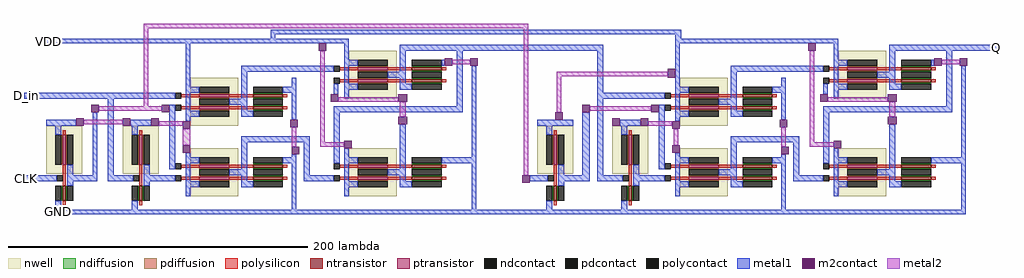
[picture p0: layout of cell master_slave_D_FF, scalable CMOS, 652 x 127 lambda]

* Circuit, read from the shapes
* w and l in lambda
.subckt master_slave_D_FF CLK D_in GND Q VDD
M1 n1 CLK GND VSUBS nfet w=10 l=2
M2 n2 D_in GND VSUBS nfet w=10 l=2
M3 n3 n2 n4 VSUBS nfet w=20 l=2
M4 GND n1 n3 VSUBS nfet w=20 l=2
M5 n5 n1 n6 VSUBS nfet w=20 l=2
M6 GND D_in n5 VSUBS nfet w=20 l=2
M7 n7 n4 n8 VSUBS nfet w=20 l=2
M8 GND n9 n7 VSUBS nfet w=20 l=2
M9 n10 n8 n9 VSUBS nfet w=20 l=2
M10 GND n6 n10 VSUBS nfet w=20 l=2
M11 n11 n1 GND VSUBS nfet w=10 l=2
M12 n12 n9 GND VSUBS nfet w=10 l=2
M13 n13 n12 n14 VSUBS nfet w=20 l=2
M14 GND n11 n13 VSUBS nfet w=20 l=2
M15 n15 n11 n16 VSUBS nfet w=20 l=2
M16 GND n9 n15 VSUBS nfet w=20 l=2
M17 n17 n14 n18 VSUBS nfet w=20 l=2
M18 GND Q n17 VSUBS nfet w=20 l=2
M19 n19 n18 Q VSUBS nfet w=20 l=2
M20 GND n16 n19 VSUBS nfet w=20 l=2
M21 n1 CLK VDD n20 pfet w=20 l=2
M22 n2 D_in VDD n21 pfet w=20 l=2
M23 n4 n2 VDD n22 pfet w=20 l=2
M24 VDD n1 n4 n22 pfet w=20 l=2
M25 n6 n1 VDD n23 pfet w=20 l=2
M26 VDD D_in n6 n23 pfet w=20 l=2
M27 n8 n4 VDD n24 pfet w=20 l=2
M28 VDD n9 n8 n24 pfet w=20 l=2
M29 n9 n8 VDD n25 pfet w=20 l=2
M30 VDD n6 n9 n25 pfet w=20 l=2
M31 n11 n1 VDD n26 pfet w=20 l=2
M32 n12 n9 VDD n27 pfet w=20 l=2
M33 n14 n12 VDD n28 pfet w=20 l=2
M34 VDD n11 n14 n28 pfet w=20 l=2
M35 n16 n11 VDD n29 pfet w=20 l=2
M36 VDD n9 n16 n29 pfet w=20 l=2
M37 n18 n14 VDD n30 pfet w=20 l=2
M38 VDD Q n18 n30 pfet w=20 l=2
M39 Q n18 VDD n31 pfet w=20 l=2
M40 VDD n16 Q n31 pfet w=20 l=2
.ends

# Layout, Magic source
magic
tech scmos
<< nwell >>
rect -28 -14 4 18
rect 78 4 110 36
rect 299 -14 331 18
rect 405 4 437 36
rect -124 -46 -100 -14
rect -73 -46 -49 -14
rect -28 -61 4 -29
rect 78 -61 110 -29
rect 204 -46 228 -14
rect 254 -46 278 -14
rect 299 -61 331 -29
rect 405 -61 437 -29
<< ntransistor >>
rect 120 23 140 25
rect 447 23 467 25
rect 120 15 140 17
rect 447 15 467 17
rect 14 5 34 7
rect 341 5 361 7
rect 14 -3 34 -1
rect 341 -3 361 -1
rect 14 -42 34 -40
rect 120 -42 140 -40
rect 14 -50 34 -48
rect -113 -64 -111 -54
rect -62 -64 -60 -54
rect 120 -50 140 -48
rect 341 -42 361 -40
rect 447 -42 467 -40
rect 341 -50 361 -48
rect 215 -64 217 -54
rect 265 -64 267 -54
rect 447 -50 467 -48
<< ptransistor >>
rect 84 23 104 25
rect 411 23 431 25
rect 84 15 104 17
rect 411 15 431 17
rect -22 5 -2 7
rect 305 5 325 7
rect -22 -3 -2 -1
rect 305 -3 325 -1
rect -113 -40 -111 -20
rect -62 -40 -60 -20
rect -22 -42 -2 -40
rect 215 -40 217 -20
rect 265 -40 267 -20
rect 84 -42 104 -40
rect -22 -50 -2 -48
rect 84 -50 104 -48
rect 305 -42 325 -40
rect 411 -42 431 -40
rect 305 -50 325 -48
rect 411 -50 431 -48
<< ndiffusion >>
rect 120 25 140 26
rect 120 22 140 23
rect 447 25 467 26
rect 120 17 140 18
rect 120 14 140 15
rect 447 22 467 23
rect 447 17 467 18
rect 14 7 34 8
rect 14 4 34 5
rect 447 14 467 15
rect 341 7 361 8
rect 14 -1 34 0
rect 14 -4 34 -3
rect 341 4 361 5
rect 341 -1 361 0
rect 341 -4 361 -3
rect 14 -40 34 -39
rect 14 -43 34 -42
rect 120 -40 140 -39
rect 14 -48 34 -47
rect -114 -64 -113 -54
rect -111 -64 -110 -54
rect -63 -64 -62 -54
rect -60 -64 -59 -54
rect 14 -51 34 -50
rect 120 -43 140 -42
rect 120 -48 140 -47
rect 120 -51 140 -50
rect 341 -40 361 -39
rect 341 -43 361 -42
rect 447 -40 467 -39
rect 341 -48 361 -47
rect 214 -64 215 -54
rect 217 -64 218 -54
rect 264 -64 265 -54
rect 267 -64 268 -54
rect 341 -51 361 -50
rect 447 -43 467 -42
rect 447 -48 467 -47
rect 447 -51 467 -50
<< pdiffusion >>
rect 84 25 104 26
rect 84 22 104 23
rect 84 17 104 18
rect 411 25 431 26
rect 411 22 431 23
rect 84 14 104 15
rect -22 7 -2 8
rect 411 17 431 18
rect 411 14 431 15
rect -22 4 -2 5
rect -22 -1 -2 0
rect 305 7 325 8
rect 305 4 325 5
rect -22 -4 -2 -3
rect 305 -1 325 0
rect 305 -4 325 -3
rect -114 -40 -113 -20
rect -111 -40 -110 -20
rect -63 -40 -62 -20
rect -60 -40 -59 -20
rect -22 -40 -2 -39
rect -22 -43 -2 -42
rect -22 -48 -2 -47
rect 84 -40 104 -39
rect 214 -40 215 -20
rect 217 -40 218 -20
rect 264 -40 265 -20
rect 267 -40 268 -20
rect 84 -43 104 -42
rect -22 -51 -2 -50
rect 84 -48 104 -47
rect 84 -51 104 -50
rect 305 -40 325 -39
rect 305 -43 325 -42
rect 305 -48 325 -47
rect 411 -40 431 -39
rect 411 -43 431 -42
rect 305 -51 325 -50
rect 411 -48 431 -47
rect 411 -51 431 -50
<< ndcontact >>
rect 120 26 140 30
rect 447 26 467 30
rect 120 18 140 22
rect 14 8 34 12
rect 447 18 467 22
rect 120 10 140 14
rect 341 8 361 12
rect 447 10 467 14
rect 14 0 34 4
rect 341 0 361 4
rect 14 -8 34 -4
rect 341 -8 361 -4
rect 14 -39 34 -35
rect 120 -39 140 -35
rect 14 -47 34 -43
rect -118 -64 -114 -54
rect -110 -64 -106 -54
rect -67 -64 -63 -54
rect -59 -64 -55 -54
rect 120 -47 140 -43
rect 14 -55 34 -51
rect 120 -55 140 -51
rect 341 -39 361 -35
rect 447 -39 467 -35
rect 341 -47 361 -43
rect 210 -64 214 -54
rect 218 -64 222 -54
rect 260 -64 264 -54
rect 268 -64 272 -54
rect 447 -47 467 -43
rect 341 -55 361 -51
rect 447 -55 467 -51
<< pdcontact >>
rect 84 26 104 30
rect 411 26 431 30
rect 84 18 104 22
rect 411 18 431 22
rect -22 8 -2 12
rect 84 10 104 14
rect 305 8 325 12
rect -22 0 -2 4
rect 411 10 431 14
rect 305 0 325 4
rect -22 -8 -2 -4
rect 305 -8 325 -4
rect -118 -40 -114 -20
rect -110 -40 -106 -20
rect -67 -40 -63 -20
rect -59 -40 -55 -20
rect -22 -39 -2 -35
rect 84 -39 104 -35
rect -22 -47 -2 -43
rect 210 -40 214 -20
rect 218 -40 222 -20
rect 260 -40 264 -20
rect 268 -40 272 -20
rect 305 -39 325 -35
rect 84 -47 104 -43
rect -22 -55 -2 -51
rect 84 -55 104 -51
rect 411 -39 431 -35
rect 305 -47 325 -43
rect 411 -47 431 -43
rect 305 -55 325 -51
rect 411 -55 431 -51
<< polysilicon >>
rect 72 23 84 25
rect 104 23 120 25
rect 140 23 143 25
rect 399 23 411 25
rect 431 23 447 25
rect 467 23 470 25
rect 72 15 84 17
rect 104 15 120 17
rect 140 15 143 17
rect 399 15 411 17
rect 431 15 447 17
rect 467 15 470 17
rect -34 5 -22 7
rect -2 5 14 7
rect 34 5 37 7
rect 293 5 305 7
rect 325 5 341 7
rect 361 5 364 7
rect -34 -3 -22 -1
rect -2 -3 14 -1
rect 34 -3 37 -1
rect 293 -3 305 -1
rect 325 -3 341 -1
rect 361 -3 364 -1
rect -113 -20 -111 -17
rect -62 -20 -60 -17
rect 215 -20 217 -17
rect 265 -20 267 -17
rect -113 -54 -111 -40
rect -62 -54 -60 -40
rect -34 -42 -22 -40
rect -2 -42 14 -40
rect 34 -42 37 -40
rect 72 -42 84 -40
rect 104 -42 120 -40
rect 140 -42 143 -40
rect -34 -50 -22 -48
rect -2 -50 14 -48
rect 34 -50 37 -48
rect 72 -50 84 -48
rect 104 -50 120 -48
rect 140 -50 143 -48
rect 215 -54 217 -40
rect 265 -54 267 -40
rect 293 -42 305 -40
rect 325 -42 341 -40
rect 361 -42 364 -40
rect 399 -42 411 -40
rect 431 -42 447 -40
rect 467 -42 470 -40
rect 293 -50 305 -48
rect 325 -50 341 -48
rect 361 -50 364 -48
rect 399 -50 411 -48
rect 431 -50 447 -48
rect 467 -50 470 -48
rect -113 -67 -111 -64
rect -62 -67 -60 -64
rect 215 -67 217 -64
rect 265 -67 267 -64
<< polycontact >>
rect 68 22 72 26
rect 68 14 72 18
rect 395 22 399 26
rect -38 4 -34 8
rect 395 14 399 18
rect -38 -4 -34 0
rect 289 4 293 8
rect 289 -4 293 0
rect -117 -51 -113 -47
rect -66 -51 -62 -47
rect -38 -43 -34 -39
rect -38 -51 -34 -47
rect 68 -43 72 -39
rect 68 -51 72 -47
rect 211 -51 215 -47
rect 261 -51 265 -47
rect 289 -43 293 -39
rect 289 -51 293 -47
rect 395 -43 399 -39
rect 395 -51 399 -47
<< metal1 >>
rect 26 47 300 50
rect 26 44 29 47
rect 296 44 300 47
rect -124 41 78 44
rect -31 12 -28 41
rect 75 30 78 41
rect 296 41 405 44
rect 112 36 248 40
rect 75 26 84 30
rect 6 22 68 26
rect -31 8 -22 12
rect -139 4 -38 8
rect -124 -14 -104 -10
rect -118 -20 -114 -14
rect -110 -47 -106 -40
rect -93 -47 -90 -5
rect -139 -51 -117 -47
rect -110 -51 -90 -47
rect -83 -47 -79 4
rect -68 -14 -54 -10
rect -67 -20 -63 -14
rect -59 -47 -55 -40
rect -42 -43 -38 0
rect -31 -4 -28 8
rect 6 4 10 22
rect 40 12 43 18
rect 34 8 43 12
rect -2 0 10 4
rect 6 -4 10 0
rect -31 -8 -22 -4
rect 6 -8 14 -4
rect -31 -11 -28 -8
rect 40 -10 43 8
rect 75 14 78 26
rect 112 22 116 36
rect 140 26 142 30
rect 104 18 116 22
rect 112 14 116 18
rect 68 7 71 14
rect 75 10 84 14
rect 112 10 120 14
rect 75 4 78 10
rect 150 -1 154 36
rect 68 -5 154 -1
rect 6 -25 52 -21
rect -31 -35 -28 -32
rect -31 -39 -22 -35
rect -83 -51 -66 -47
rect -59 -51 -38 -47
rect -31 -51 -28 -39
rect 6 -43 10 -25
rect 40 -35 43 -33
rect 34 -39 43 -35
rect -2 -47 10 -43
rect 6 -51 10 -47
rect -110 -54 -106 -51
rect -59 -54 -55 -51
rect -31 -55 -22 -51
rect 6 -55 14 -51
rect -31 -61 -28 -55
rect -118 -70 -114 -64
rect -67 -70 -63 -64
rect 40 -70 43 -39
rect 48 -47 52 -25
rect 68 -39 72 -5
rect 75 -35 78 -29
rect 75 -39 84 -35
rect 48 -51 68 -47
rect 75 -51 78 -39
rect 112 -43 116 -13
rect 160 -35 163 26
rect 244 8 248 36
rect 296 12 299 41
rect 402 30 405 41
rect 439 36 513 40
rect 402 26 411 30
rect 333 22 395 26
rect 296 8 305 12
rect 244 4 289 8
rect 204 -14 228 -10
rect 140 -39 163 -35
rect 104 -47 116 -43
rect 112 -51 116 -47
rect 75 -55 84 -51
rect 112 -55 120 -51
rect 75 -61 78 -55
rect 160 -70 163 -39
rect 210 -20 214 -14
rect 218 -47 222 -40
rect 234 -47 239 -5
rect 199 -51 211 -47
rect 218 -51 239 -47
rect 244 -47 248 4
rect 259 -14 273 -10
rect 260 -20 264 -14
rect 268 -47 272 -40
rect 285 -43 289 0
rect 296 -4 299 8
rect 333 4 337 22
rect 367 12 370 18
rect 361 8 370 12
rect 325 0 337 4
rect 333 -4 337 0
rect 296 -8 305 -4
rect 333 -8 341 -4
rect 296 -11 299 -8
rect 367 -10 370 8
rect 402 14 405 26
rect 439 22 443 36
rect 467 26 469 30
rect 431 18 443 22
rect 439 14 443 18
rect 395 7 398 14
rect 402 10 411 14
rect 439 10 447 14
rect 402 4 405 10
rect 477 -1 481 36
rect 395 -5 481 -1
rect 333 -25 379 -21
rect 296 -35 299 -32
rect 296 -39 305 -35
rect 244 -51 261 -47
rect 268 -51 289 -47
rect 296 -51 299 -39
rect 333 -43 337 -25
rect 367 -35 370 -33
rect 361 -39 370 -35
rect 325 -47 337 -43
rect 333 -51 337 -47
rect 218 -54 222 -51
rect 268 -54 272 -51
rect 296 -55 305 -51
rect 333 -55 341 -51
rect 296 -61 299 -55
rect 210 -70 214 -64
rect 260 -70 264 -64
rect 367 -70 370 -39
rect 375 -47 379 -25
rect 395 -39 399 -5
rect 402 -35 405 -29
rect 402 -39 411 -35
rect 375 -51 395 -47
rect 402 -51 405 -39
rect 439 -43 443 -13
rect 487 -35 490 26
rect 467 -39 490 -35
rect 431 -47 443 -43
rect 439 -51 443 -47
rect 402 -55 411 -51
rect 439 -55 447 -51
rect 402 -61 405 -55
rect 487 -70 490 -39
rect -118 -73 490 -70
<< m2contact >>
rect 58 36 63 41
rect -94 -5 -89 0
rect -104 -14 -99 -9
rect -47 -5 -42 0
rect -73 -14 -68 -9
rect -54 -14 -49 -9
rect 142 26 147 31
rect 66 2 71 7
rect 111 2 117 7
rect 159 26 164 31
rect -33 -16 -28 -11
rect 39 -15 44 -10
rect -33 -32 -28 -27
rect 40 -33 45 -28
rect 111 -13 117 -8
rect 75 -29 80 -24
rect 291 18 296 24
rect 385 36 390 41
rect 234 -5 239 0
rect 216 -10 221 -5
rect 194 -52 199 -47
rect 280 -5 285 0
rect 254 -14 259 -9
rect 273 -14 278 -9
rect 469 26 474 31
rect 393 2 398 7
rect 438 2 444 7
rect 486 26 491 31
rect 294 -16 299 -11
rect 366 -15 371 -10
rect 294 -32 299 -27
rect 367 -33 372 -28
rect 438 -13 444 -8
rect 402 -29 407 -24
<< metal2 >>
rect -59 51 198 54
rect -59 -1 -56 51
rect -89 -4 -47 -1
rect -99 -13 -73 -10
rect -49 -14 -33 -11
rect -33 -27 -28 -16
rect 40 -28 43 -15
rect 59 -25 62 36
rect 147 27 159 30
rect 71 2 111 5
rect 112 -8 116 2
rect 59 -28 75 -25
rect 195 -47 198 51
rect 217 19 291 22
rect 217 -5 220 19
rect 239 -4 280 -1
rect 278 -14 294 -11
rect 295 -27 298 -16
rect 367 -28 370 -15
rect 386 -25 389 36
rect 474 27 486 30
rect 398 2 438 5
rect 439 -8 443 2
rect 386 -28 402 -25
<< labels >>
rlabel metal1 -139 4 -135 8 3 D_in
rlabel metal1 -139 -51 -135 -47 3 CLK
rlabel metal1 -118 -73 -114 -70 1 GND
rlabel metal1 -124 41 -121 44 1 VDD
rlabel metal1 508 36 513 40 7 Q
<< end >>
